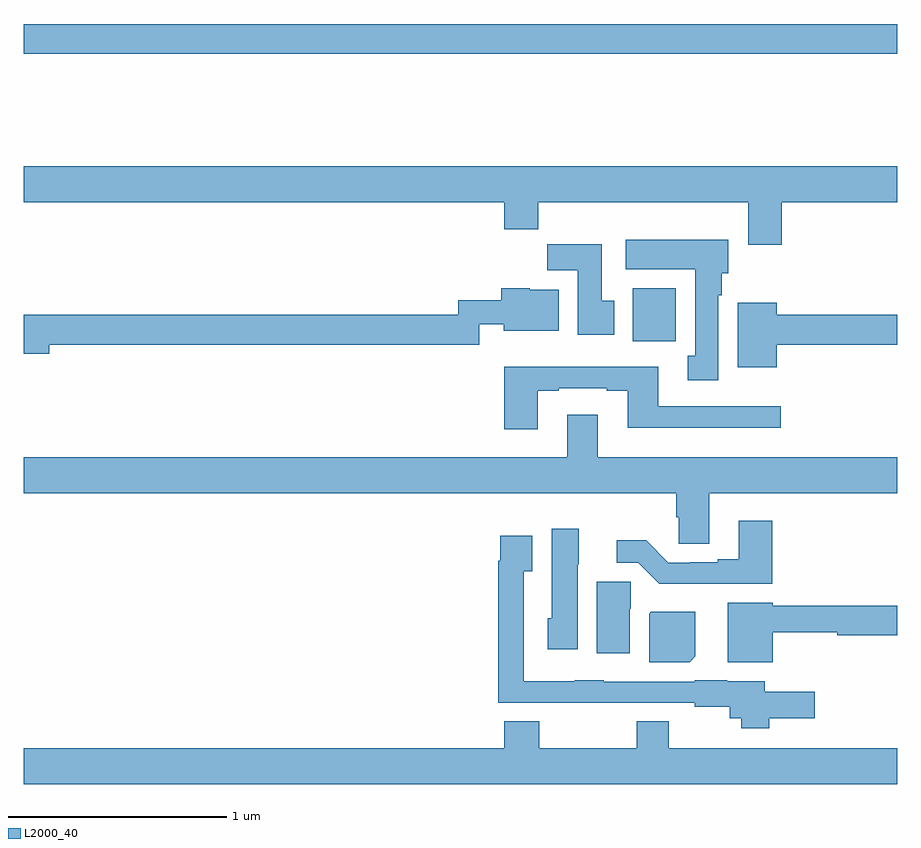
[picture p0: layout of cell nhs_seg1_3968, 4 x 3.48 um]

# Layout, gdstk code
import gdstk
lib = gdstk.Library(unit=1e-6, precision=1e-09)
def R(c, l, rs):  # rectangles x0, y0, x1, y1
    for r in rs: c.add(gdstk.rectangle(r[:2], r[2:], *l))
def P(c, l, *ps):  # polygons
    for p in ps: c.add(gdstk.Polygon(p, *l))
L2000_40 = (2000, 40)

nhs_seg1_3968 = lib.new_cell('nhs_seg1_3968')
R(nhs_seg1_3968, L2000_40, [(329.789,552.428,329.986,552.67), (327,553.744,331,553.88)])
P(nhs_seg1_3968, L2000_40, [(330.47,553.064),(331,553.064),(331,553.228),(327,553.228),(327,553.064),(329.201,553.064),(329.201,552.94),(329.357,552.94),(329.357,553.064),(330.317,553.064),(330.317,552.87),(330.47,552.87)],
  [(330.181,552.638),(330.196,552.638),(330.196,552.738),(330.226,552.738),(330.226,552.892),(329.757,552.892),(329.757,552.758),(330.074,552.758),(330.074,552.362),(330.041,552.362),(330.041,552.249),(330.181,552.249)],
  [(329.704,552.612),(329.647,552.612),(329.647,552.871),(329.398,552.871),(329.398,552.752),(329.537,552.752),(329.537,552.456),(329.704,552.456)],
  [(327.118,552.412),(329.085,552.412),(329.085,552.506),(329.198,552.506),(329.198,552.476),(329.449,552.476),(329.449,552.664),(329.316,552.664),(329.316,552.67),(329.186,552.67),(329.186,552.616),(328.989,552.616),(328.989,552.548),(327,552.548),(327,552.37),(327.118,552.37)],
  [(330.448,552.412),(331,552.412),(331,552.548),(330.448,552.548),(330.448,552.604),(330.269,552.604),(330.269,552.308),(330.448,552.308)],
  [(329.353,552.201),(329.449,552.201),(329.449,552.213),(329.669,552.213),(329.669,552.201),(329.765,552.201),(329.765,552.032),(330.466,552.032),(330.466,552.129),(329.905,552.129),(329.905,552.31),(329.201,552.31),(329.201,552.024),(329.353,552.024)],
  [(330.139,551.732),(331,551.732),(331,551.896),(329.629,551.896),(329.629,552.091),(329.489,552.091),(329.489,551.896),(327,551.896),(327,551.732),(329.987,551.732),(329.987,551.622),(330,551.622),(330,551.5),(330.139,551.5)],
  [(330.428,551.605),(330.275,551.605),(330.275,551.428),(330.179,551.428),(330.179,551.415),(330.052,551.415),(330.052,551.412),(329.952,551.412),(329.85,551.515),(329.715,551.515),(329.715,551.412),(329.814,551.412),(329.909,551.318),(330.428,551.318)],
  [(329.536,551.406),(329.542,551.406),(329.542,551.569),(329.417,551.569),(329.417,551.16),(329.399,551.16),(329.399,551.016),(329.536,551.016)],
  [(330.413,550.7),(330.622,550.7),(330.622,550.822),(330.394,550.822),(330.394,550.87),(330.222,550.87),(330.222,550.876),(330.072,550.876),(330.072,550.869),(329.655,550.869),(329.655,550.876),(329.523,550.876),(329.523,550.87),(329.289,550.87),(329.289,551.375),(329.329,551.375),(329.329,551.536),(329.181,551.536),(329.181,551.423),(329.173,551.423),(329.173,550.773),(329.423,550.773),(329.423,550.772),(329.655,550.772),(329.655,550.773),(330.072,550.773),(330.072,550.754),(330.233,550.754),(330.233,550.7),(330.285,550.7),(330.285,550.655),(330.413,550.655)],
  [(329.776,551.202),(329.78,551.202),(329.78,551.325),(329.624,551.325),(329.624,550.998),(329.776,550.998)],
  [(330.43,551.095),(330.726,551.095),(330.726,551.08),(331,551.08),(331,551.216),(330.43,551.216),(330.43,551.23),(330.224,551.23),(330.224,550.958),(330.43,550.958)],
  [(330.076,550.984),(330.076,551.188),(329.872,551.188),(329.864,551.18),(329.864,550.958),(330.05,550.958)],
  [(331,550.564),(329.953,550.564),(329.953,550.688),(329.806,550.688),(329.806,550.564),(329.361,550.564),(329.361,550.688),(329.201,550.688),(329.201,550.564),(327,550.564),(327,550.4),(331,550.4)])

lib.write_gds('nhs_seg1_3968.gds')
